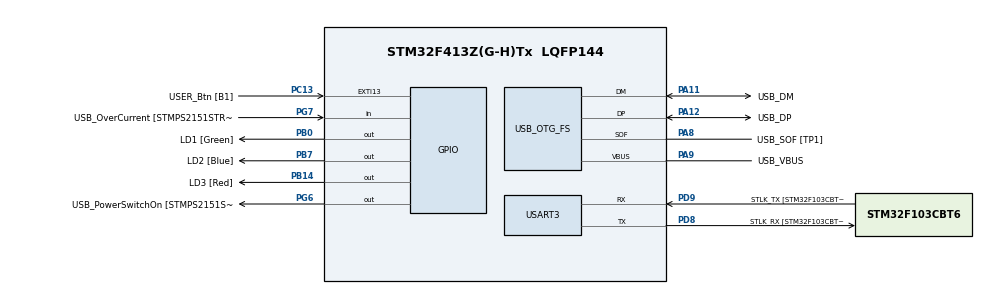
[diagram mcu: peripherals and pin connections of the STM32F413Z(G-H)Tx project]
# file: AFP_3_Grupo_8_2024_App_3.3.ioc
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Mcu.Family=STM32F4
Mcu.Name=STM32F413Z(G-H)Tx
Mcu.Package=LQFP144
NVIC.PriorityGroup=NVIC_PRIORITYGROUP_4
PA10.GPIO_Label=USB_ID
PA10.Signal=USB_OTG_FS_ID
PA11.GPIO_Label=USB_DM
PA11.Mode=Device_Only
PA11.Signal=USB_OTG_FS_DM
PA12.GPIO_Label=USB_DP
PA12.Mode=Device_Only
PA12.Signal=USB_OTG_FS_DP
PA13.GPIO_Label=TMS
PA13.Mode=Serial_Wire
PA13.Signal=SYS_JTMS-SWDIO
PA14.GPIO_Label=TCK
PA14.Mode=Serial_Wire
PA14.Signal=SYS_JTCK-SWCLK
PA8.GPIO_Label=USB_SOF [TP1]
PA8.Mode=Activate_SOF_FS
PA8.Signal=USB_OTG_FS_SOF
PA9.GPIO_Label=USB_VBUS
PA9.Mode=Activate_VBUS
PA9.Signal=USB_OTG_FS_VBUS
PB0.GPIO_Label=LD1 [Green]
PB0.Signal=GPIO_Output
PB14.GPIO_Label=LD3 [Red]
PB14.Signal=GPIO_Output
PB3.GPIO_Label=SWO
PB3.Signal=SYS_JTDO-SWO
PB7.GPIO_Label=LD2 [Blue]
PB7.Signal=GPIO_Output
PC13.GPIO_Label=USER_Btn [B1]
PC13.Signal=GPXTI13
PC14-OSC32_IN.Mode=LSE-External-Oscillator
PC14-OSC32_IN.Signal=RCC_OSC32_IN
PC15-OSC32_OUT.Mode=LSE-External-Oscillator
PC15-OSC32_OUT.Signal=RCC_OSC32_OUT
PD8.GPIO_Label=STLK_RX [STM32F103CBT6_PA3]
PD8.Mode=Asynchronous
PD8.Signal=USART3_TX
PD9.GPIO_Label=STLK_TX [STM32F103CBT6_PA2]
PD9.Mode=Asynchronous
PD9.Signal=USART3_RX
PG6.GPIO_Label=USB_PowerSwitchOn [STMPS2151STR_EN]
PG6.Signal=GPIO_Output
PG7.GPIO_Label=USB_OverCurrent [STMPS2151STR_FAULT]
PG7.Signal=GPIO_Input
PH0\ -\ OSC_IN.GPIO_Label=MCO
PH0\ -\ OSC_IN.Mode=HSE-External-Clock-Source
PH0\ -\ OSC_IN.Signal=RCC_OSC_IN
PH1\ -\ OSC_OUT.Mode=HSE-External-Clock-Source
PH1\ -\ OSC_OUT.Signal=RCC_OSC_OUT
ProjectManager.HeapSize=0x200
ProjectManager.StackSize=0x400
ProjectManager.TargetToolchain=STM32CubeIDE
RCC.48MHZClocksFreq_Value=24000000
RCC.AHBFreq_Value=96000000
RCC.APB1CLKDivider=RCC_HCLK_DIV2
RCC.APB1Freq_Value=48000000
RCC.APB1TimFreq_Value=96000000
RCC.APB2Freq_Value=96000000
RCC.APB2TimFreq_Value=96000000
RCC.CortexFreq_Value=96000000
RCC.HCLKFreq_Value=96000000
RCC.HSE_VALUE=8000000
RCC.HSI_VALUE=16000000
RCC.PLLM=8
RCC.PLLMUL=RCC_PLL_MUL9
RCC.PLLN=384
RCC.PLLP=RCC_PLLP_DIV4
RCC.PLLQ=8
RCC.PRESCALERUSB=RCC_USBCLKSOURCE_PLL_DIV1_5
RCC.SYSCLKFreq_VALUE=96000000
RCC.SYSCLKSource=RCC_SYSCLKSOURCE_PLLCLK
RCC.SYSCLKSourceVirtual=RCC_SYSCLKSOURCE_PLLCLK
RCC.USBFreq_Value=48000000
RCC.VCOOutputFreq_Value=384000000
USART3.VirtualMode=VM_ASYNC
USB_OTG_FS.VirtualMode=Device_Only
board=NUCLEO-F413ZH

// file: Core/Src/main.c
/* USER CODE BEGIN Header */
/**
  ******************************************************************************
  * @file           : main.c
  * @brief          : Main program body
  ******************************************************************************
  * @attention
  *
  * Copyright (c) 2024 STMicroelectronics.
  * All rights reserved.
  *
  * This software is licensed under terms that can be found in the LICENSE file
  * in the root directory of this software component.
  * If no LICENSE file comes with this software, it is provided AS-IS.
  *
  ******************************************************************************
  */
/* USER CODE END Header */
#include "main.h"
#include "API_GPIO.h"
#include "API_Delay.h"

/* USER CODE BEGIN PD */
#define N 3 				//variable N para definir el tamano del vector LED
/* USER CODE END PD */

/* USER CODE BEGIN PV */
uint16_t LED[N]={LD1_Pin, LD2_Pin, LD3_Pin};				//vector de leds
int led_actual=0;

delay_t delay1, delay2, delay3, delay4, delay5;
uint16_t delay[5]={100, 150, 300, 600};						//vector para distintos tiempos de espera funcion delay no bloqueante
int estado_boton=0, estado_anterior=GPIO_PIN_RESET;			//Variables auxiliares para determinar el estado actual y el estado anterior
int secuencia=0;											//Numero de secuencia
bool_t init_4=0;
/* USER CODE END PV */

int main(void)
{

  /* USER CODE BEGIN 1 */
  delayInit(&delay1, delay[0]);		//100ms
  delayInit(&delay2, delay[1]);		//150ms
  delayInit(&delay3, delay[2]);		//300ms
  delayInit(&delay4, delay[3]);		//600ms
  delayInit(&delay5, delay[1]);		//150ms
  /* USER CODE END 1 */

  /* MCU Configuration--------------------------------------------------------*/

  /* Reset of all peripherals, Initializes the Flash interface and the Systick. */
  HAL_Init();

  /* Configure the system clock */
  SystemClock_Config();

  /* Initialize all configured peripherals */
  MX_GPIO_Init();
  MX_USART3_UART_Init();
  MX_USB_OTG_FS_PCD_Init();

  /* Infinite loop */
  /* USER CODE BEGIN WHILE */
  while (1)
  {

	  estado_boton=readButton_GPIO();		//Compruebo si el boton esta presionado

	  if (estado_boton==GPIO_PIN_SET && estado_anterior==GPIO_PIN_RESET)
	  {

		  secuencia=(secuencia+1)%4;								//cambia entre las 4 secuencias

		  writeLedOff_GPIO(LED[0] | LED[1] | LED[2]);				//Se apagan todos los leds antes de comenzar una nueva secuencia

		  led_actual=0;
		  init_4=0;
	  }
	  estado_anterior=estado_boton;									//guarda el estado del boton para comparar en el siguiente loop

	  switch (secuencia)
	  {
	  	  case 0:									//Secuencia 1 Parpadean en secuencia cada 150ms (verde, azul, rojo)

	          if (delayRead(&delay2)){
	        	  toggleLed_GPIO(LED[led_actual]);
	          	  led_actual=(led_actual+1)%N;
	          }
	  	  	  break;

	        case 1:									//Secuencia 2 Parpadean los tres en simultaneo cada 300ms
	  	  		if (delayRead(&delay3))
	  	  		{
	  	  			 toggleLed_GPIO(LED[0] | LED[1] | LED[2]);
	  	  		}
	  	  		break;

	        case 2:									//Secuencia 3 Parpadean Led Verde 100ms, Led Azul 300ms y Led Rojo 600ms
	  	  		if (delayRead(&delay1))
	  	  		{
	  	  			toggleLed_GPIO(LED[0]);
	  	  		}
	  	  		if (delayRead(&delay3)){
	  	  			toggleLed_GPIO(LED[1]);
	  	  		}

	  	  		if (delayRead(&delay4)){
	  	  			toggleLed_GPIO(LED[2]);
	  	  		}

	  	  		break;

	        case 3:									//Secuencia 4 Parpadea Verde y Rojo en simultaneo alternado con Azul cada 150ms

	        	if (delayRead(&delay2) && init_4==0)			//en la primera vez que se ingresa a la secuencia se apaga el led2 y se enciende 1 y 3
	  	  		{
	  	  			writeLedOff_GPIO(LED[1]);
	  	  			writeLedOn_GPIO(LED[0] | LED[2]);
	  	  			init_4=1;
	  	  		}

	  	  		if (delayRead(&delay5))
	  	  		{
	  	  			  toggleLed_GPIO(LED[0]	| LED[2]);
	  	  			  toggleLed_GPIO(LED[1]);
	  	  		}

	  	  		break;
	  	}

	 /* USER CODE END WHILE */
  }
}

void Error_Handler(void)
{
  __disable_irq();
  while (1)
  {
  }
}
